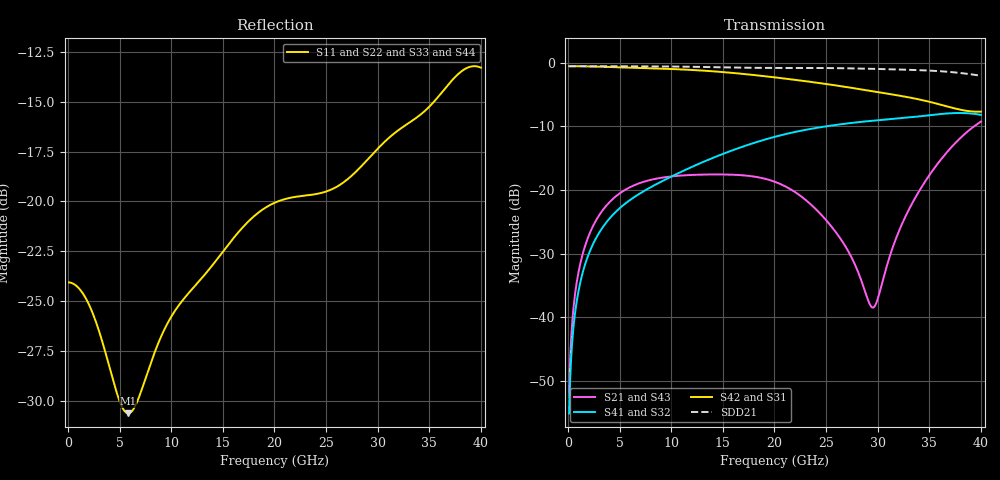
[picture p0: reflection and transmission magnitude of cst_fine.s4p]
! E_s8_L1L8_p1000_oval_g2: pair L1→L8, pitch 1 mm, one oval antipad, 2 GND vias
! stackup: 8-layer 1.6 mm FR-4 (generic)
! ports: 1 P near, 2 N near, 3 P far, 4 N far
! CST Studio Suite 2025.5 Release from 2025-05-30, time domain (FIT, hexahedral, PBA), 404096 mesh cells, 90 s
! mesh: {'lpw': 30.0, 'lpb': 30.0, 'minstep': 0.0, 'ratio': 20}; ports: port 1 (face); port 2 (face); port 3 (face); port 4 (face)
! interpolated from CST's 1001 samples to the case grid
# Hz S RI R 50
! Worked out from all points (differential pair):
!   400 points, 100 MHz to 40 GHz, reference 50 ohm
!   strongest paths, dB at 100 MHz, 10.1 GHz, 20.1 GHz, 30.1 GHz, 40 GHz:
!     S42: -0.6, -1.0, -2.3, -4.7, -7.7
!     S31: -0.6, -1.0, -2.3, -4.7, -7.7
!     S41: -55.1, -17.8, -11.6, -9.1, -8.2
!     S32: -55.1, -17.8, -11.6, -9.1, -8.2
!     S21: -51.8, -17.9, -18.8, -36.6, -9.3
!     S43: -51.8, -17.9, -18.8, -36.6, -9.3
!   taken as a pair (ports 2,1 in; 4,3 out), SDD21 dB: -0.6, -0.6, -0.8, -1.0, -2.1
!   lowest |S11| = -30.6 dB at 5.8 GHz (marker M1), VSWR 1.06, Z = 52.6 - j1.51 ohm
!   |S11| at or under -10 dB: start of sweep to end of sweep
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1e8  -0.0626 0.00307  0.00135 0.0022  0.9361 -0.0359  0.000671 -0.00163
     0.00135 0.0022  -0.0626 0.00307  0.000671 -0.00163  0.9361 -0.0359
     0.9361 -0.0359  0.000671 -0.00163  -0.0626 0.00307  0.00135 0.0022
     0.000671 -0.00163  0.9361 -0.0359  0.00135 0.0022  -0.0626 0.00307
5.8e9  0.0257 -0.0143  0.0717 -0.0741  -0.5453 -0.7325  -0.0523 0.062
       0.0717 -0.0741  0.0257 -0.0143  -0.0523 0.062  -0.5453 -0.7325
       -0.5453 -0.7325  -0.0523 0.062  0.0257 -0.0143  0.0717 -0.0741
       -0.0523 0.062  -0.5453 -0.7325  0.0717 -0.0741  0.0257 -0.0143
1.22e10  -0.00475 0.0608  -0.1299 0.0197  -0.0605 0.871  0.1513 -0.0303
         -0.1299 0.0197  -0.00475 0.0608  0.1513 -0.0303  -0.0605 0.871
         -0.0605 0.871  0.1513 -0.0303  -0.00475 0.0608  -0.1299 0.0197
         0.1513 -0.0303  -0.0605 0.871  -0.1299 0.0197  -0.00475 0.0608
1.62e10  0.0728 -0.0376  0.0111 0.131  0.8205 0.0919  -0.0433 -0.204
         0.0111 0.131  0.0728 -0.0376  -0.0433 -0.204  0.8205 0.0919
         0.8205 0.0919  -0.0433 -0.204  0.0728 -0.0376  0.0111 0.131
         -0.0433 -0.204  0.8205 0.0919  0.0111 0.131  0.0728 -0.0376
2.03e10  -0.0656 -0.0755  0.1136 -0.00377  0.095 -0.7547  -0.2512 0.0835
         0.1136 -0.00377  -0.0656 -0.0755  -0.2512 0.0835  0.095 -0.7547
         0.095 -0.7547  -0.2512 0.0835  -0.0656 -0.0755  0.1136 -0.00377
         -0.2512 0.0835  0.095 -0.7547  0.1136 -0.00377  -0.0656 -0.0755
2.96e10  0.1273 0.036  -0.00457 0.011  0.1289 0.5796  0.1576 -0.3123
         -0.00457 0.011  0.1273 0.036  0.1576 -0.3123  0.1289 0.5796
         0.1289 0.5796  0.1576 -0.3123  0.1273 0.036  -0.00457 0.011
         0.1576 -0.3123  0.1289 0.5796  -0.00457 0.011  0.1273 0.036
4e10  -0.2124 -0.0428  -0.304 0.1603  -0.2805 -0.3011  0.3458 0.1769
      -0.304 0.1603  -0.2124 -0.0428  0.3458 0.1769  -0.2805 -0.3011
      -0.2805 -0.3011  0.3458 0.1769  -0.2124 -0.0428  -0.304 0.1603
      0.3458 0.1769  -0.2805 -0.3011  -0.304 0.1603  -0.2124 -0.0428
